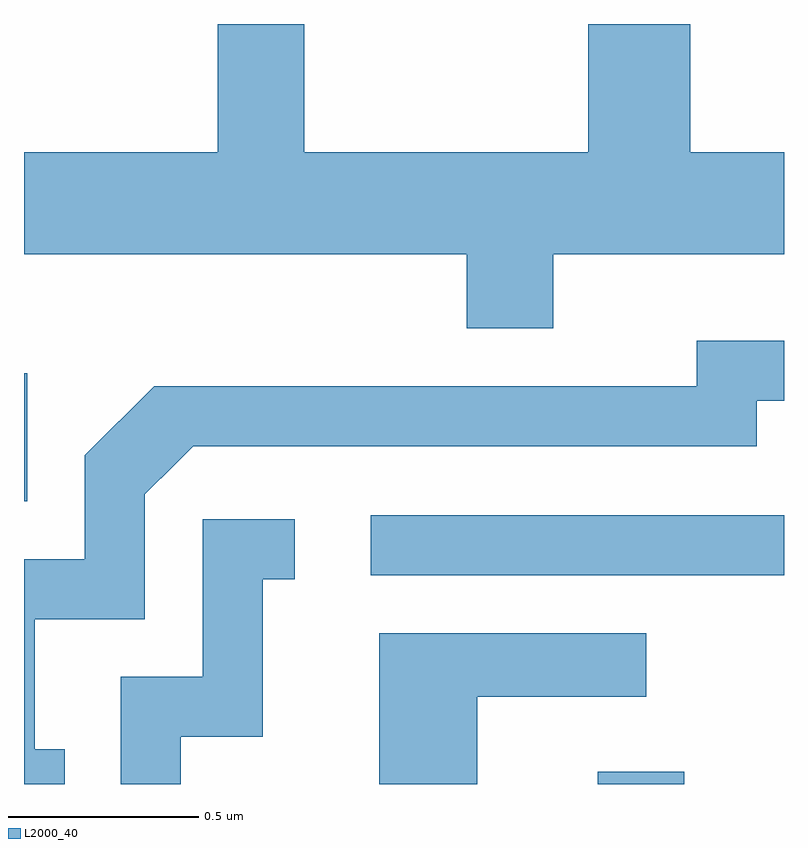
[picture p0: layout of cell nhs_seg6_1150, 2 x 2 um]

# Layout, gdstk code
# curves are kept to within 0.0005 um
import gdstk
lib = gdstk.Library(unit=1e-6, precision=1e-09)
def R(c, l, rs):  # rectangles x0, y0, x1, y1
    for r in rs: c.add(gdstk.rectangle(r[:2], r[2:], *l))
def P(c, l, *ps):  # polygons
    for p in ps: c.add(gdstk.Polygon(p, *l))
L2000_40 = (2000, 40)

nhs_seg6_1150 = lib.new_cell('nhs_seg6_1150')
R(nhs_seg6_1150, L2000_40, [(195.121,1584.162,195.349,1584.194), (194.523,1584.711,195.611,1584.869), (193.611,1584.906,193.619,1585.243)])
P(nhs_seg6_1150, L2000_40, [(195.004,1585.556),(195.611,1585.556),(195.611,1585.824),(195.364,1585.824),(195.364,1586.162),(195.096,1586.162),(195.096,1585.824),(194.349,1585.824),(194.349,1586.162),(194.121,1586.162),(194.121,1585.824),(193.611,1585.824),(193.611,1585.556),(194.776,1585.556),(194.776,1585.361),(195.004,1585.361)],
  [(193.718,1584.254),(193.639,1584.254),(193.639,1584.596),(193.929,1584.596),(193.929,1584.924),(194.057,1585.051),(195.539,1585.051),(195.539,1585.171),(195.611,1585.171),(195.611,1585.329),(195.381,1585.329),(195.381,1585.209),(193.954,1585.209),(193.771,1585.027),(193.771,1584.754),(193.611,1584.754),(193.611,1584.162),(193.718,1584.162)],
  [(194.024,1584.286),(194.239,1584.286),(194.239,1584.701),(194.323,1584.701),(194.323,1584.859),(194.081,1584.859),(194.081,1584.444),(193.866,1584.444),(193.866,1584.162),(194.024,1584.162)],
  [(194.804,1584.391),(195.248,1584.391),(195.248,1584.559),(194.546,1584.559),(194.546,1584.162),(194.804,1584.162)])

lib.write_gds('nhs_seg6_1150.gds')
